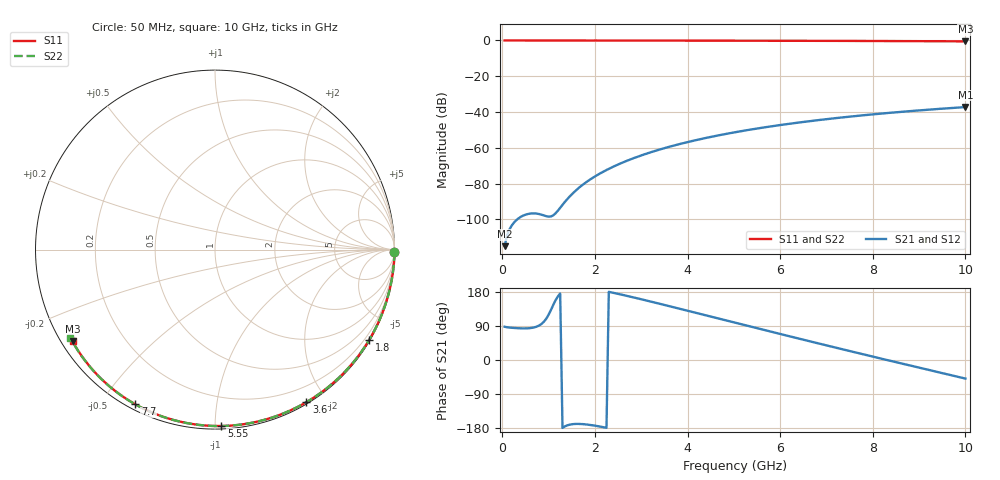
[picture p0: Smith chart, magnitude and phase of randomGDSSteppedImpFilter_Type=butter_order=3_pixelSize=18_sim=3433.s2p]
! freq	dB(S11)	phase(S11)	dB(S12)	phase(S12)
!  dB(S21)	phase(S21)	dB(S22)	phase(S22)
!S-par simulation data
#  GHz  S  DB  R 50
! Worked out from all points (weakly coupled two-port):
!   200 points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, 50 MHz to 10 GHz, reference 50 ohm
!   highest |S21| = -37.24 dB at 10 GHz (marker M1); lowest = -115.0 dB at 50 MHz (marker M2)
!   lowest |S11| = -0.5 dB at 10 GHz (marker M3), VSWR 34.95, Z = 1.55 - j14.7 ohm
!   |S11| at or under -10 dB: nowhere
!   |S22| runs from -0.5 to 0.0 dB; largest |S21 - S12| = 0
!   S11 on the Smith chart (normalised r, x): 50 MHz: open; 1.8 GHz: 0.03, -3.69; 3.6 GHz: 0.02, -1.76; 5.55 GHz: 0.02, -1.04; 7.7 GHz: 0.02, -0.61; 10 GHz: 0.03, -0.29
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0.05  -0.00 -0.9  -114.96 87.8  -114.96 87.8  -0.00 -0.9
0.45  -0.01 -7.7  -97.89 83.4  -97.89 83.4  -0.01 -7.8
0.9  -0.02 -15.3  -97.80 101.3  -97.80 101.3  -0.02 -15.4
1.3  -0.03 -22.0  -91.85 -179.2  -91.85 -179.2  -0.03 -22.2
1.75  -0.04 -29.5  -80.37 -169.3  -80.37 -169.3  -0.04 -29.7
1.8  -0.04 -30.3  -79.41 -169.9  -79.41 -169.9  -0.04 -30.6
1.95  -0.04 -32.8  -76.79 -172.3  -76.79 -172.3  -0.04 -33.0
2.1  -0.04 -35.2  -74.48 -175.4  -74.48 -175.4  -0.05 -35.5
2.3  -0.05 -38.5  -71.74 179.8  -71.74 179.8  -0.05 -38.8
2.5  -0.05 -41.7  -69.32 174.6  -69.32 174.6  -0.05 -42.1
2.9  -0.06 -48.1  -65.17 163.3  -65.17 163.3  -0.06 -48.5
3.4  -0.07 -56.0  -60.93 148.4  -60.93 148.4  -0.08 -56.4
3.6  -0.08 -59.1  -59.46 142.3  -59.46 142.3  -0.08 -59.6
4.3  -0.10 -69.7  -55.01 120.8  -55.01 120.8  -0.10 -70.3
5.05  -0.12 -80.8  -51.18 97.7  -51.18 97.7  -0.13 -81.4
5.55  -0.14 -87.9  -49.01 82.4  -49.01 82.4  -0.15 -88.7
6.1  -0.17 -95.7  -46.91 65.7  -46.91 65.7  -0.17 -96.4
6.7  -0.20 -103.9  -44.90 47.6  -44.90 47.6  -0.20 -104.8
7.7  -0.27 -117.3  -42.05 17.8  -42.05 17.8  -0.27 -118.3
8.35  -0.32 -125.8  -40.48 -1.3  -40.48 -1.3  -0.33 -126.9
9.2  -0.41 -136.8  -38.68 -25.9  -38.68 -25.9  -0.41 -138.1
10  -0.50 -147.2  -37.24 -49.0  -37.24 -49.0  -0.50 -148.6
